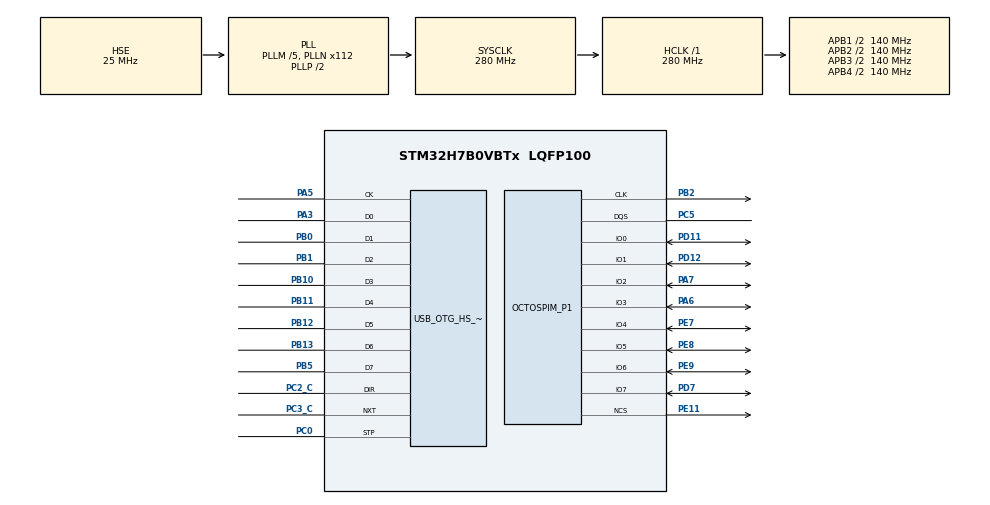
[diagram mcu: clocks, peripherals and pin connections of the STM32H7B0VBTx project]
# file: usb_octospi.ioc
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CORTEX_M7.CPU_DCache=Enabled
CORTEX_M7.CPU_ICache=Enabled
CORTEX_M7.MPU_Control=__NULL
Mcu.Family=STM32H7
Mcu.Name=STM32H7B0VBTx
Mcu.Package=LQFP100
Mdma.MDMA_Channel0.OCTOSPI1_FIFO_TH.0.BlockCount=0
Mdma.MDMA_Channel0.OCTOSPI1_FIFO_TH.0.BlockDataLength=0
Mdma.MDMA_Channel0.OCTOSPI1_FIFO_TH.0.BufferTransferLength=128
Mdma.MDMA_Channel0.OCTOSPI1_FIFO_TH.0.CircularMode=MDMA_LINEAR_LIST
Mdma.MDMA_Channel0.OCTOSPI1_FIFO_TH.0.DataAlignment=MDMA_DATAALIGN_PACKENABLE
Mdma.MDMA_Channel0.OCTOSPI1_FIFO_TH.0.DestBlockAddressOffset=0
Mdma.MDMA_Channel0.OCTOSPI1_FIFO_TH.0.DestBurst=MDMA_DEST_BURST_128BEATS
Mdma.MDMA_Channel0.OCTOSPI1_FIFO_TH.0.DestDataSize=MDMA_DEST_DATASIZE_BYTE
Mdma.MDMA_Channel0.OCTOSPI1_FIFO_TH.0.DestinationInc=MDMA_DEST_INC_DISABLE
Mdma.MDMA_Channel0.OCTOSPI1_FIFO_TH.0.DstAddress=0
Mdma.MDMA_Channel0.OCTOSPI1_FIFO_TH.0.Endianness=MDMA_LITTLE_ENDIANNESS_PRESERVE
Mdma.MDMA_Channel0.OCTOSPI1_FIFO_TH.0.Instance=MDMA_Channel0
Mdma.MDMA_Channel0.OCTOSPI1_FIFO_TH.0.MaskAddress=0
Mdma.MDMA_Channel0.OCTOSPI1_FIFO_TH.0.MaskData=0
Mdma.MDMA_Channel0.OCTOSPI1_FIFO_TH.0.Priority=MDMA_PRIORITY_LOW
Mdma.MDMA_Channel0.OCTOSPI1_FIFO_TH.0.Rank=First
Mdma.MDMA_Channel0.OCTOSPI1_FIFO_TH.0.SourceBlockAddressOffset=0
Mdma.MDMA_Channel0.OCTOSPI1_FIFO_TH.0.SourceBurst=MDMA_SOURCE_BURST_128BEATS
Mdma.MDMA_Channel0.OCTOSPI1_FIFO_TH.0.SourceDataSize=MDMA_SRC_DATASIZE_BYTE
Mdma.MDMA_Channel0.OCTOSPI1_FIFO_TH.0.SourceInc=MDMA_SRC_INC_DISABLE
Mdma.MDMA_Channel0.OCTOSPI1_FIFO_TH.0.SrcAddress=0
Mdma.MDMA_Channel0.OCTOSPI1_FIFO_TH.0.TransferTriggerMode=MDMA_BUFFER_TRANSFER
Mdma.MDMA_Channel0.Request0=OCTOSPI1_FIFO_TH
Mdma.MDMA_Channel0.RequestsNb=1
Mdma.RequestSet0=MDMA_Channel0
Mdma.RequestSetsNb=1
NVIC.MDMA_IRQn=true\:0\:0\:false\:false\:true\:false\:true\:true
NVIC.OCTOSPI1_IRQn=true\:0\:0\:false\:false\:true\:true\:true\:true
NVIC.OTG_HS_IRQn=true\:0\:0\:false\:false\:true\:true\:true\:true
NVIC.PriorityGroup=NVIC_PRIORITYGROUP_4
OCTOSPI1.ClockPrescaler=2
OCTOSPI1.DelayBlockBypass=HAL_OSPI_DELAY_BLOCK_USED
OCTOSPI1.DelayHoldQuarterCycle=HAL_OSPI_DHQC_DISABLE
OCTOSPI1.DeviceSize=32
OCTOSPI1.MemoryType=HAL_OSPI_MEMTYPE_APMEMORY
OCTOSPI1.SampleShifting=HAL_OSPI_SAMPLE_SHIFTING_HALFCYCLE
PA3.Mode=Device_HS
PA3.Signal=USB_OTG_HS_ULPI_D0
PA5.Mode=Device_HS
PA5.Signal=USB_OTG_HS_ULPI_CK
PA6.Mode=OCTOSPI1_IOL_Port1L
PA6.Signal=OCTOSPIM_P1_IO3
PA7.Mode=OCTOSPI1_IOL_Port1L
PA7.Signal=OCTOSPIM_P1_IO2
PB0.Mode=Device_HS
PB0.Signal=USB_OTG_HS_ULPI_D1
PB1.Mode=Device_HS
PB1.Signal=USB_OTG_HS_ULPI_D2
PB10.Mode=Device_HS
PB10.Signal=USB_OTG_HS_ULPI_D3
PB11.Mode=Device_HS
PB11.Signal=USB_OTG_HS_ULPI_D4
PB12.Mode=Device_HS
PB12.Signal=USB_OTG_HS_ULPI_D5
PB13.Mode=Device_HS
PB13.Signal=USB_OTG_HS_ULPI_D6
PB2.Mode=O1_P1_CLK
PB2.Signal=OCTOSPIM_P1_CLK
PB5.Mode=Device_HS
PB5.Signal=USB_OTG_HS_ULPI_D7
PC0.Mode=Device_HS
PC0.Signal=USB_OTG_HS_ULPI_STP
PC14-OSC32_IN.Mode=LSE-External-Oscillator
PC14-OSC32_IN.Signal=RCC_OSC32_IN
PC15-OSC32_OUT.Mode=LSE-External-Oscillator
PC15-OSC32_OUT.Signal=RCC_OSC32_OUT
PC2_C.Mode=Device_HS
PC2_C.Signal=USB_OTG_HS_ULPI_DIR
PC3_C.Mode=Device_HS
PC3_C.Signal=USB_OTG_HS_ULPI_NXT
PC5.Mode=OCTOSPI1_Port1_DQS
PC5.Signal=OCTOSPIM_P1_DQS
PD11.Mode=OCTOSPI1_IOL_Port1L
PD11.Signal=OCTOSPIM_P1_IO0
PD12.Mode=OCTOSPI1_IOL_Port1L
PD12.Signal=OCTOSPIM_P1_IO1
PD7.Mode=OCTOSPI1_IOH_Port1H
PD7.Signal=OCTOSPIM_P1_IO7
PE11.Mode=OCTOSPI1_Port1_NCS
PE11.Signal=OCTOSPIM_P1_NCS
PE7.Mode=OCTOSPI1_IOH_Port1H
PE7.Signal=OCTOSPIM_P1_IO4
PE8.Mode=OCTOSPI1_IOH_Port1H
PE8.Signal=OCTOSPIM_P1_IO5
PE9.Mode=OCTOSPI1_IOH_Port1H
PE9.Signal=OCTOSPIM_P1_IO6
PH0-OSC_IN.Mode=HSE-External-Oscillator
PH0-OSC_IN.Signal=RCC_OSC_IN
PH1-OSC_OUT.Mode=HSE-External-Oscillator
PH1-OSC_OUT.Signal=RCC_OSC_OUT
ProjectManager.HeapSize=0x200
ProjectManager.StackSize=0x400
ProjectManager.TargetToolchain=STM32CubeIDE
RCC.ADCFreq_Value=240000000
RCC.APB1Freq_Value=140000000
RCC.APB2Freq_Value=140000000
RCC.APB3Freq_Value=140000000
RCC.APB4Freq_Value=140000000
RCC.CDPPRE=RCC_APB3_DIV2
RCC.CDPPRE1=RCC_APB1_DIV2
RCC.CDPPRE2=RCC_APB2_DIV2
RCC.CortexFreq_Value=280000000
RCC.DIVM1=5
RCC.DIVM2=5
RCC.DIVM3=25
RCC.DIVN1=112
RCC.DIVN2=96
RCC.DIVN3=144
RCC.DIVQ3=3
RCC.DIVR2=4
RCC.HCLKFreq_Value=280000000
RCC.HSE_VALUE=25000000
RCC.QSPICLockSelection=RCC_OSPICLKSOURCE_PLL2
RCC.SRDPPRE=RCC_APB4_DIV2
RCC.SYSCLKFreq_VALUE=280000000
RCC.SYSCLKSource=RCC_SYSCLKSOURCE_PLLCLK
RCC.USBCLockSelection=RCC_USBCLKSOURCE_PLL3
RCC.USBFreq_Value=48000000
USB_OTG_HS.VirtualMode-Device_HS=Device_HS
VP_OCTOSPI1_VS_octo.Mode=octo_mode
board=custom

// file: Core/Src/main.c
/* USER CODE BEGIN Header */
/**
  ******************************************************************************
  * @file           : main.c
  * @brief          : Main program body
  ******************************************************************************
  * @attention
  *
  * Copyright (c) 2022 STMicroelectronics.
  * All rights reserved.
  *
  * This software is licensed under terms that can be found in the LICENSE file
  * in the root directory of this software component.
  * If no LICENSE file comes with this software, it is provided AS-IS.
  *
  ******************************************************************************
  */
/* USER CODE END Header */
#include "main.h"

/* USER CODE BEGIN Includes */
#include "tusb.h"

/* USER CODE END Includes */

OSPI_HandleTypeDef hospi1;
MDMA_HandleTypeDef hmdma_octospi1_fifo_th;

PCD_HandleTypeDef hpcd_USB_OTG_HS;

/* USER CODE BEGIN PV */
buffer_info buffer_info_axm;

/* USER CODE END PV */

void SystemClock_Config(void);
static void MX_GPIO_Init(void);
static void MX_MDMA_Init(void);
static void MX_OCTOSPI1_Init(void);
static void MX_USB_OTG_HS_PCD_Init(void);

/* USER CODE BEGIN 0 */

void from_host_task(OSPI_RegularCmdTypeDef *sCommand)
{
	if ((buffer_info_axm.busy == false)) {
		buffer_info_axm.busy = true;
		uint com_size = 0;
		if (tud_vendor_available()) {
			com_size = tud_vendor_read(buffer_info_axm.buffer[0], 512);
			//tud_vendor_read_flush();
		}else{
			tud_task();
		}
		if (com_size != 0) {
			sCommand->Instruction = *(uint32_t *)&buffer_info_axm.buffer[0][0];
			buffer_info_axm.count = (sCommand->Instruction & 0x00ffffff)+1;

			sCommand->Address     = *(uint32_t *)&buffer_info_axm.buffer[0][4];

			uint count = buffer_info_axm.count;

			if((buffer_info_axm.buffer[0][3]&0xf0)==(LINEAR_BURST_WRITE<<4)) {     // LINEAR_BURST_WRITE
				sCommand->DummyCycles = DUMMY_CLOCK_CYCLES_SRAM_WRITE;
				int wp = 0;
				int rp = 0;
				while(tud_vendor_read(buffer_info_axm.buffer[wp], 512) == 0){tud_task();}
				do{
					if(count > 256){
						sCommand->NbData  = 256;
						count -= 256;
						sCommand->Instruction &= 0xff0000ff;/////////////|0xff
					} else {
						sCommand->NbData  = count;
						count = 0;
						sCommand->Instruction &= 0xff0000ff;
					}
					SCB_CleanDCache_by_Addr((uint32_t*)buffer_info_axm.buffer[rp], 512);

					if (HAL_OSPI_Command(&hospi1, sCommand, HAL_OSPI_TIMEOUT_DEFAULT_VALUE) != HAL_OK) {Error_Handler();}
					if (HAL_OSPI_Transmit_DMA(&hospi1, buffer_info_axm.buffer[rp])!= HAL_OK)           {Error_Handler();}
					while(HAL_OSPI_GetState(&hospi1) == HAL_OSPI_STATE_BUSY_TX){}
					sCommand->Address += 256;

					if(count > 0){
						if(count > 256){
							sCommand->NbData  = 256;
							count -= 256;
							sCommand->Instruction &= 0xff0000ff;/////////////|0xff
						} else {
							sCommand->NbData  = count;
							count = 0;
							sCommand->Instruction &= 0xff0000ff;
						}

						if (HAL_OSPI_Command(&hospi1, sCommand, HAL_OSPI_TIMEOUT_DEFAULT_VALUE) != HAL_OK) {Error_Handler();}
						if (HAL_OSPI_Transmit_DMA(&hospi1, &buffer_info_axm.buffer[rp][256])!= HAL_OK)     {Error_Handler();}
						if(count > 0) {
							wp = (wp +1) %2;
							while(tud_vendor_read(buffer_info_axm.buffer[wp], 512) == 0){tud_task();}
						}
						while(HAL_OSPI_GetState(&hospi1) == HAL_OSPI_STATE_BUSY_TX){}
						sCommand->Address += 256;
					}
					rp = (rp +1) %2;
				} while(count > 0);
			} else {                                                             // LINEAR_BURST_READ
				sCommand->DummyCycles = DUMMY_CLOCK_CYCLES_SRAM_READ;
				int wp = 0;
				int rp = 0;
				do{
					SCB_InvalidateDCache_by_Addr((uint32_t*)buffer_info_axm.buffer[wp], 512);

					if(count > 256){
						sCommand->NbData  = 256;
						count -= 256;
						sCommand->Instruction &= 0xff0000ff;/////////////|0xff
					} else {
						sCommand->NbData  = count;
						count = 0;
						sCommand->Instruction &= 0xff0000ff;
					}

					if (HAL_OSPI_Command(&hospi1, sCommand, HAL_OSPI_TIMEOUT_DEFAULT_VALUE) != HAL_OK) {Error_Handler();}
					if (HAL_OSPI_Receive_DMA(&hospi1, buffer_info_axm.buffer[wp])!= HAL_OK)            {Error_Handler();}
					if(rp != wp) {
						while(tud_vendor_write(buffer_info_axm.buffer[rp], 512) == 0){tud_task();}///////////////////////////////512
						rp = (rp +1) %2;
					}
					while(HAL_OSPI_GetState(&hospi1) == HAL_OSPI_STATE_BUSY_RX){}
					sCommand->Address += 256;

					if(count > 0){
						if(count > 256){
							sCommand->NbData  = 256;
							count -= 256;
							sCommand->Instruction &= 0xff0000ff;/////////////|0xff
						} else {
							sCommand->NbData  = count;
							count = 0;
							sCommand->Instruction &= 0xff0000ff;
						}

						if (HAL_OSPI_Command(&hospi1, sCommand, HAL_OSPI_TIMEOUT_DEFAULT_VALUE) != HAL_OK) {Error_Handler();}
						if (HAL_OSPI_Receive_DMA(&hospi1, &buffer_info_axm.buffer[wp][256])!= HAL_OK)      {Error_Handler();}
						while(HAL_OSPI_GetState(&hospi1) == HAL_OSPI_STATE_BUSY_RX){}
						sCommand->Address += 256;
					}

					wp = (wp +1) %2;
					tud_vendor_flush();
				} while(count > 0);
				while(tud_vendor_write(buffer_info_axm.buffer[rp], 512) == 0){tud_task();}///////////////////////////////512
			}
		}
		buffer_info_axm.busy = false;
	}
}

/* USER CODE END 0 */

int main(void)
{

  /* Enable I-Cache---------------------------------------------------------*/
  SCB_EnableICache();

  /* Enable D-Cache---------------------------------------------------------*/
  SCB_EnableDCache();

  /* MCU Configuration--------------------------------------------------------*/

  /* Reset of all peripherals, Initializes the Flash interface and the Systick. */
  HAL_Init();

  /* Configure the system clock */
  SystemClock_Config();

  /* Initialize all configured peripherals */
  MX_GPIO_Init();
  MX_MDMA_Init();
  MX_OCTOSPI1_Init();
  MX_USB_OTG_HS_PCD_Init();

  /* Infinite loop */
  /* USER CODE BEGIN WHILE */
  tusb_init();

  OSPI_RegularCmdTypeDef sCommand;
  sCommand.OperationType = HAL_OSPI_OPTYPE_COMMON_CFG;
  sCommand.FlashId = HAL_OSPI_FLASH_ID_1;
  sCommand.InstructionMode = HAL_OSPI_INSTRUCTION_8_LINES;
  sCommand.InstructionSize = HAL_OSPI_INSTRUCTION_32_BITS;
  sCommand.AddressMode = HAL_OSPI_ADDRESS_8_LINES;
  sCommand.AddressSize = HAL_OSPI_ADDRESS_32_BITS;
  sCommand.AlternateBytesMode = HAL_OSPI_ALTERNATE_BYTES_NONE;
  sCommand.DataMode = HAL_OSPI_DATA_8_LINES;
  sCommand.SIOOMode = HAL_OSPI_SIOO_INST_EVERY_CMD;
  sCommand.InstructionDtrMode = HAL_OSPI_INSTRUCTION_DTR_DISABLE;
  sCommand.AddressDtrMode = HAL_OSPI_ADDRESS_DTR_DISABLE;
  sCommand.DataDtrMode = HAL_OSPI_DATA_DTR_DISABLE;
  sCommand.DQSMode = HAL_OSPI_DQS_DISABLE;

  while (1)
  {
    /* USER CODE END WHILE */

    /* USER CODE BEGIN 3 */
      //HAL_Delay(1);
	  tud_task();
	  from_host_task(&sCommand);
  }
  /* USER CODE END 3 */
}

void SystemClock_Config(void)
{
  RCC_OscInitTypeDef RCC_OscInitStruct = {0};
  RCC_ClkInitTypeDef RCC_ClkInitStruct = {0};

  /*AXI clock gating */
  RCC->CKGAENR = 0xFFFFFFFF;

  /** Supply configuration update enable
  */
  HAL_PWREx_ConfigSupply(PWR_LDO_SUPPLY);

  /** Configure the main internal regulator output voltage
  */
  __HAL_PWR_VOLTAGESCALING_CONFIG(PWR_REGULATOR_VOLTAGE_SCALE0);

  while(!__HAL_PWR_GET_FLAG(PWR_FLAG_VOSRDY)) {}

  /** Macro to configure the PLL clock source
  */
  __HAL_RCC_PLL_PLLSOURCE_CONFIG(RCC_PLLSOURCE_HSE);

  /** Initializes the RCC Oscillators according to the specified parameters
  * in the RCC_OscInitTypeDef structure.
  */
  RCC_OscInitStruct.OscillatorType = RCC_OSCILLATORTYPE_HSE;
  RCC_OscInitStruct.HSEState = RCC_HSE_ON;
  RCC_OscInitStruct.PLL.PLLState = RCC_PLL_ON;
  RCC_OscInitStruct.PLL.PLLSource = RCC_PLLSOURCE_HSE;
  RCC_OscInitStruct.PLL.PLLM = 5;
  RCC_OscInitStruct.PLL.PLLN = 112;
  RCC_OscInitStruct.PLL.PLLP = 2;
  RCC_OscInitStruct.PLL.PLLQ = 2;
  RCC_OscInitStruct.PLL.PLLR = 2;
  RCC_OscInitStruct.PLL.PLLRGE = RCC_PLL1VCIRANGE_2;
  RCC_OscInitStruct.PLL.PLLVCOSEL = RCC_PLL1VCOWIDE;
  RCC_OscInitStruct.PLL.PLLFRACN = 0;
  if (HAL_RCC_OscConfig(&RCC_OscInitStruct) != HAL_OK)
  {
    Error_Handler();
  }

  /** Initializes the CPU, AHB and APB buses clocks
  */
  RCC_ClkInitStruct.ClockType = RCC_CLOCKTYPE_HCLK|RCC_CLOCKTYPE_SYSCLK
                              |RCC_CLOCKTYPE_PCLK1|RCC_CLOCKTYPE_PCLK2
                              |RCC_CLOCKTYPE_D3PCLK1|RCC_CLOCKTYPE_D1PCLK1;
  RCC_ClkInitStruct.SYSCLKSource = RCC_SYSCLKSOURCE_PLLCLK;
  RCC_ClkInitStruct.SYSCLKDivider = RCC_SYSCLK_DIV1;
  RCC_ClkInitStruct.AHBCLKDivider = RCC_HCLK_DIV1;
  RCC_ClkInitStruct.APB3CLKDivider = RCC_APB3_DIV2;
  RCC_ClkInitStruct.APB1CLKDivider = RCC_APB1_DIV2;
  RCC_ClkInitStruct.APB2CLKDivider = RCC_APB2_DIV2;
  RCC_ClkInitStruct.APB4CLKDivider = RCC_APB4_DIV2;

  if (HAL_RCC_ClockConfig(&RCC_ClkInitStruct, FLASH_LATENCY_7) != HAL_OK)
  {
    Error_Handler();
  }
}

static void MX_OCTOSPI1_Init(void)
{

  OSPIM_CfgTypeDef sOspiManagerCfg = {0};

  /* OCTOSPI1 parameter configuration*/
  hospi1.Instance = OCTOSPI1;
  hospi1.Init.FifoThreshold = 1;
  hospi1.Init.DualQuad = HAL_OSPI_DUALQUAD_DISABLE;
  hospi1.Init.MemoryType = HAL_OSPI_MEMTYPE_APMEMORY;
  hospi1.Init.DeviceSize = 32;
  hospi1.Init.ChipSelectHighTime = 1;
  hospi1.Init.FreeRunningClock = HAL_OSPI_FREERUNCLK_DISABLE;
  hospi1.Init.ClockMode = HAL_OSPI_CLOCK_MODE_0;
  hospi1.Init.WrapSize = HAL_OSPI_WRAP_NOT_SUPPORTED;
  hospi1.Init.ClockPrescaler = 2;
  hospi1.Init.SampleShifting = HAL_OSPI_SAMPLE_SHIFTING_HALFCYCLE;
  hospi1.Init.DelayHoldQuarterCycle = HAL_OSPI_DHQC_DISABLE;
  hospi1.Init.ChipSelectBoundary = 0;
  hospi1.Init.DelayBlockBypass = HAL_OSPI_DELAY_BLOCK_USED;
  hospi1.Init.MaxTran = 0;
  hospi1.Init.Refresh = 0;
  if (HAL_OSPI_Init(&hospi1) != HAL_OK)
  {
    Error_Handler();
  }
  sOspiManagerCfg.ClkPort = 1;
  sOspiManagerCfg.DQSPort = 1;
  sOspiManagerCfg.NCSPort = 1;
  sOspiManagerCfg.IOLowPort = HAL_OSPIM_IOPORT_1_LOW;
  sOspiManagerCfg.IOHighPort = HAL_OSPIM_IOPORT_1_HIGH;
  if (HAL_OSPIM_Config(&hospi1, &sOspiManagerCfg, HAL_OSPI_TIMEOUT_DEFAULT_VALUE) != HAL_OK)
  {
    Error_Handler();
  }

}

static void MX_USB_OTG_HS_PCD_Init(void)
{

  hpcd_USB_OTG_HS.Instance = USB_OTG_HS;
  hpcd_USB_OTG_HS.Init.dev_endpoints = 9;
  hpcd_USB_OTG_HS.Init.speed = PCD_SPEED_HIGH;
  hpcd_USB_OTG_HS.Init.dma_enable = DISABLE;
  hpcd_USB_OTG_HS.Init.phy_itface = USB_OTG_ULPI_PHY;
  hpcd_USB_OTG_HS.Init.Sof_enable = DISABLE;
  hpcd_USB_OTG_HS.Init.low_power_enable = DISABLE;
  hpcd_USB_OTG_HS.Init.lpm_enable = DISABLE;
  hpcd_USB_OTG_HS.Init.vbus_sensing_enable = DISABLE;
  hpcd_USB_OTG_HS.Init.use_dedicated_ep1 = DISABLE;
  hpcd_USB_OTG_HS.Init.use_external_vbus = DISABLE;
  if (HAL_PCD_Init(&hpcd_USB_OTG_HS) != HAL_OK)
  {
    Error_Handler();
  }

}

/**
  * Enable MDMA controller clock
  */
static void MX_MDMA_Init(void)
{

  /* MDMA controller clock enable */
  __HAL_RCC_MDMA_CLK_ENABLE();
  /* Local variables */

  /* MDMA interrupt initialization */
  /* MDMA_IRQn interrupt configuration */
  HAL_NVIC_SetPriority(MDMA_IRQn, 0, 0);
  HAL_NVIC_EnableIRQ(MDMA_IRQn);

}

static void MX_GPIO_Init(void)
{

  /* GPIO Ports Clock Enable */
  __HAL_RCC_GPIOC_CLK_ENABLE();
  __HAL_RCC_GPIOH_CLK_ENABLE();
  __HAL_RCC_GPIOA_CLK_ENABLE();
  __HAL_RCC_GPIOB_CLK_ENABLE();
  __HAL_RCC_GPIOE_CLK_ENABLE();
  __HAL_RCC_GPIOD_CLK_ENABLE();

}

void Error_Handler(void)
{
  __disable_irq();
  while (1)
  {
  }
}
